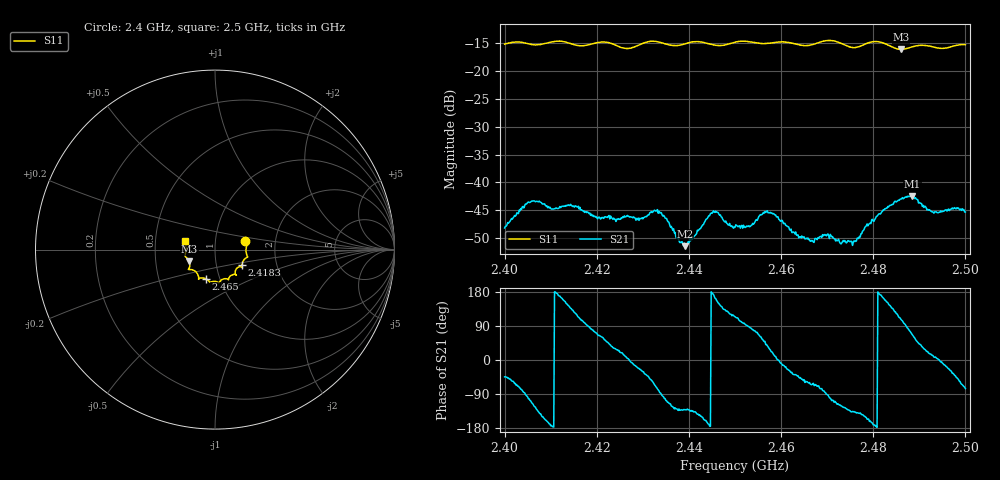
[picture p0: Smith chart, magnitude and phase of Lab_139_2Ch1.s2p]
# Hz S RI R 50
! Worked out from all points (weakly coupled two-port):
!   601 points, 2.4 GHz to 2.5 GHz, reference 50 ohm
!   highest |S21| = -42.44 dB at 2.4885 GHz (marker M1); lowest = -51.5 dB at 2.4392 GHz (marker M2)
!   lowest |S11| = -16.1 dB at 2.486 GHz (marker M3), VSWR 1.37, Z = 37.2 - j4.95 ohm
!   |S11| at or under -10 dB: start of sweep to end of sweep
!   S12 and S22 are empty: the file has one direction only
!   S11 on the Smith chart (normalised r, x): 2.4 GHz: 1.40, +0.13; 2.4183 GHz: 1.33, -0.24; 2.465 GHz: 0.86, -0.29; 2.5 GHz: 0.71, +0.07
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2.4e9  0.1692 0.0459  0.00278 -0.00273  0 0  0 0
2.406e9  0.1733 0.00865  -0.00282 -0.00618  0 0  0 0
2.411833e9  0.182 -0.0409  -0.00578 0.00112  0 0  0 0
2.416667e9  0.1551 -0.0679  -0.00141 0.00551  0 0  0 0
2.418333e9  0.1499 -0.087  0.000189 0.00524  0 0  0 0
2.429e9  0.1122 -0.129  0.00444 -0.00176  0 0  0 0
2.433333e9  0.1176 -0.1409  0.00104 -0.00518  0 0  0 0
2.439167e9  0.0777 -0.1584  -0.00175 -0.00202  0 0  0 0
2.445333e9  0.0591 -0.162  -0.00552 0.000669  0 0  0 0
2.45e9  0.0255 -0.1808  -0.00162 0.0036  0 0  0 0
2.453167e9  0.0185 -0.1831  0.000258 0.00399  0 0  0 0
2.457333e9  -0.0127 -0.1777  0.00454 0.00283  0 0  0 0
2.465e9  -0.0523 -0.1618  0.002 -0.00256  0 0  0 0
2.466667e9  -0.0713 -0.1575  0.00126 -0.00273  0 0  0 0
2.469833e9  -0.092 -0.1647  -4.68e-06 -0.00331  0 0  0 0
2.475833e9  -0.1085 -0.1218  -0.00215 -0.00206  0 0  0 0
2.480167e9  -0.1479 -0.1109  -0.00443 -0.000662  0 0  0 0
2.483333e9  -0.1413 -0.0963  -0.00507 0.00325  0 0  0 0
2.486e9  -0.1432 -0.0649  -0.00212 0.00676  0 0  0 0
2.4885e9  -0.16 -0.0434  0.00304 0.00691  0 0  0 0
2.493e9  -0.164 -0.0199  0.0053 0.00102  0 0  0 0
2.5e9  -0.1672 0.0471  0.00139 -0.00523  0 0  0 0
